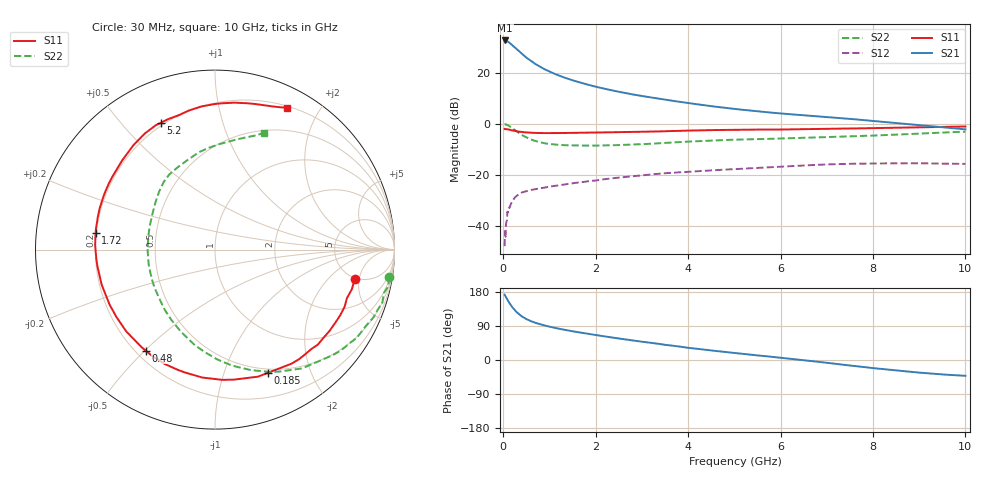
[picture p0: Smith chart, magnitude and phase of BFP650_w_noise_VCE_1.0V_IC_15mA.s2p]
! Infineon Technologies  Discrete & RF Semiconductors
! BFP650
! VCE =  1.0 V,  IC =  15 mA
! Common Emitter S-Parameters:  Jan 2016
# GHz  S  MA  R  50
!  f  S11  S21  S12  S22
! GHz  MAG  ANG  MAG  ANG  MAG  ANG  MAG  ANG
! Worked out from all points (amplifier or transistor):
!   229 points, 30 MHz to 10 GHz, reference 50 ohm
!   highest |S21| = 32.7 dB at 40 MHz (marker M1)
!   |S21| within 3 dB of that: start of sweep to 267.4 MHz
!   unconditionally stable (mu >= 1): 3.027 GHz to end of sweep
!   at 280 MHz: K = 0.19, MSG = 29.0 dB, |S12| = -28.4 dB
!   at 1.78 GHz: K = 0.83, MSG = 19.1 dB, |S12| = -22.6 dB
!   at 10 GHz: K = 1.05, MAG = 5.4 dB, |S12| = -15.7 dB
!   lowest NFmin = 0.62 dB at 450 MHz
!   S11 on the Smith chart (normalised r, x): 30 MHz: 4.83, -4.33; 185 MHz: 0.46, -1.42; 480 MHz: 0.24, -0.50; 1.72 GHz: 0.20, +0.07; 5.2 GHz: 0.19, +0.64; 10 GHz: 0.22, +1.61
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0.03  0.7961 -11.9  43.08 172.7  0.004 88.1  0.9827 -9.0
0.04  0.7938 -16.2  43.23 170.2  0.0079 72.7  0.9868 -12.0
0.11  0.7801 -42.7  40.5 155.1  0.019 73.3  0.9303 -32.0
0.14  0.7693 -52.8  38.63 149.2  0.0229 62.1  0.8945 -39.4
0.185  0.7472 -66.7  35.68 141.5  0.0291 59.9  0.8346 -50.1
0.26  0.7268 -86.8  31.06 130.2  0.0366 51.8  0.7457 -66.0
0.34  0.7051 -103.4  26.53 121.0  0.0416 45.6  0.6617 -79.9
0.4  0.6962 -113.7  23.71 115.3  0.0451 42.2  0.6104 -89.1
0.48  0.6824 -124.5  20.63 109.4  0.0473 39.4  0.5555 -99.3
0.6  0.6725 -137.4  17.06 102.4  0.0506 36.3  0.4952 -112.6
0.7  0.6653 -145.6  14.85 97.8  0.0527 34.7  0.4609 -121.9
0.9  0.6595 -158.1  11.73 90.8  0.0564 33.2  0.4165 -137.1
1.3  0.6632 -175.1  8.227 80.3  0.0643 31.5  0.3835 -159.1
1.7  0.671 172.7  6.322 71.7  0.0721 30.4  0.3751 -174.9
1.72  0.6714 172.2  6.251 71.3  0.0725 30.4  0.3752 -175.6
2.4  0.6867 156.3  4.445 58.5  0.0864 28.3  0.3816 164.5
3.4  0.7129 137.7  3.082 42.0  0.1058 21.9  0.4177 143.5
5.1  0.7678 114.3  1.923 17.3  0.1309 9.4  0.4921 120.0
5.2  0.7685 113.2  1.882 16.1  0.1324 8.7  0.4943 118.7
6.8  0.7955 97.3  1.408 -4.5  0.1572 -4.5  0.5435 100.8
8.4  0.8352 77.5  1.06 -26.3  0.1682 -20.4  0.6098 82.1
10  0.8875 63.0  0.782 -41.7  0.1641 -31.9  0.7035 67.4
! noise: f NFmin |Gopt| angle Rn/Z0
0.45  0.62  0.09  77  0.63
0.9  0.63  0.13  149  0.3
1.9  0.82  0.25  177  0.05
2.4  0.9  0.27  -167  0.07
3.5  1.2  0.32  -133  0.12
